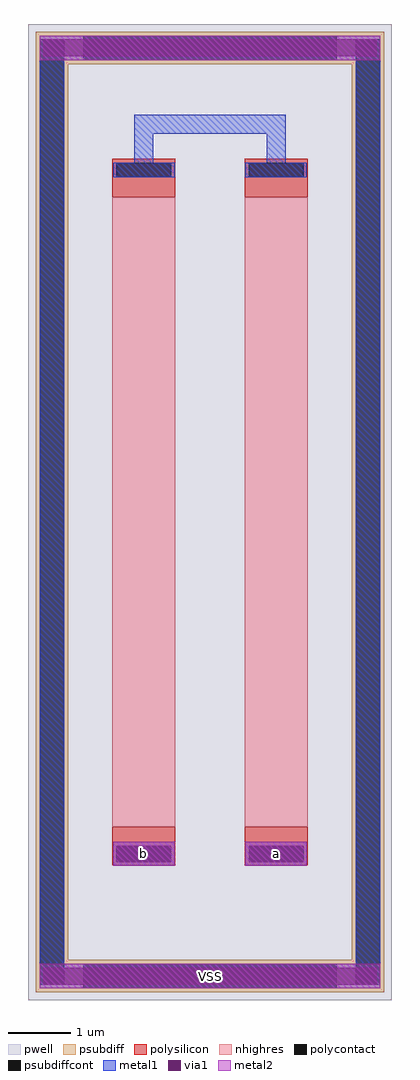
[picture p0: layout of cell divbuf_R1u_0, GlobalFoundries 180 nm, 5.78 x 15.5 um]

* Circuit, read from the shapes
.subckt divbuf_R1u_0 b a VSS
XR1 n1 b VSS ppolyf_u_1k r_width=1u r_length=10u
XR2 n1 a VSS ppolyf_u_1k r_width=1u r_length=10u
.ends

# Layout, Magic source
magic
tech gf180mcuD
magscale 1 10
<< pwell >>
rect -368 -464 788 2636
<< psubdiff >>
rect -344 -440 764 -336
rect -344 2508 764 2612
rect -344 -336 -240 2508
rect 660 -336 764 2508
<< polysilicon >>
rect -100 2086 100 2208
rect -100 -36 100 86
rect 320 2086 520 2208
rect 320 -36 520 86
<< nhighres >>
rect -100 86 100 2086
rect 320 86 520 2086
<< psubdiffcont >>
rect -331 -416 -253 2588
rect 673 -416 751 2588
rect -193 2521 613 2599
rect -193 -427 613 -349
<< polycontact >>
rect -87 2149 87 2195
rect -87 -23 87 23
rect 333 2149 507 2195
rect 333 -23 507 23
<< metal1 >>
rect -98 2149 98 2195
rect -98 -23 98 23
rect 322 2149 518 2195
rect 322 -23 518 23
rect -98 -38 98 38
rect -30 2149 30 2348
rect 390 2149 450 2348
rect -30 2288 450 2348
rect 322 -38 518 38
rect -331 -427 751 -349
rect -331 2521 751 2599
rect -331 -427 -253 2599
rect 673 -427 751 2599
rect -331 -427 751 -349
rect -331 2521 751 2599
<< metal2 >>
rect -98 -38 98 38
rect 322 -38 518 38
rect -331 -427 751 -349
rect -331 2521 751 2599
<< via1 >>
rect -86 -26 86 26
rect 334 -26 506 26
rect -319 -415 739 -361
rect -319 2533 739 2587
<< labels >>
flabel metal2 s -98 -38 98 38 0 FreeSans 80 0 0 0 b
port 1 nsew signal bidirectional
flabel metal2 s 322 -38 518 38 0 FreeSans 80 0 0 0 a
port 2 nsew signal bidirectional
flabel metal2 s -331 -427 751 -349 0 FreeSans 80 0 0 0 VSS
port 3 nsew signal bidirectional
<< end >>
